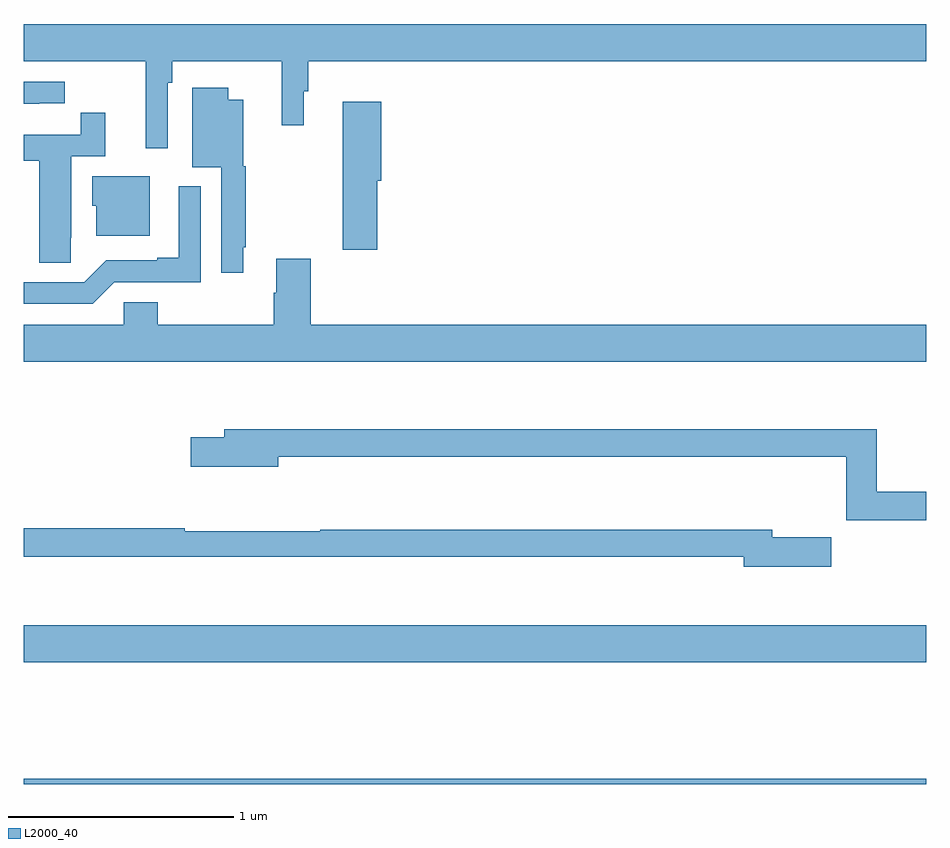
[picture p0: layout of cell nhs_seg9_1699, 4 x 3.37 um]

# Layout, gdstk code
import gdstk
lib = gdstk.Library(unit=1e-6, precision=1e-09)
def R(c, l, rs):  # rectangles x0, y0, x1, y1
    for r in rs: c.add(gdstk.rectangle(r[:2], r[2:], *l))
def P(c, l, *ps):  # polygons
    for p in ps: c.add(gdstk.Polygon(p, *l))
L2000_40 = (2000, 40)

nhs_seg9_1699 = lib.new_cell('nhs_seg9_1699')
R(nhs_seg9_1699, L2000_40, [(205,1242.5,209,1242.524), (205,1243.04,209,1243.204)])
P(nhs_seg9_1699, L2000_40, [(205.638,1245.608),(205.658,1245.608),(205.658,1245.704),(206.143,1245.704),(206.143,1245.42),(206.242,1245.42),(206.242,1245.57),(206.261,1245.57),(206.261,1245.704),(209,1245.704),(209,1245.868),(205,1245.868),(205,1245.704),(205.541,1245.704),(205.541,1245.318),(205.638,1245.318)],
  [(205.07,1245.516),(205.183,1245.516),(205.183,1245.612),(205,1245.612),(205,1245.515),(205.07,1245.515)],
  [(205.972,1244.878),(205.984,1244.878),(205.984,1245.237),(205.972,1245.237),(205.972,1245.532),(205.906,1245.532),(205.906,1245.586),(205.748,1245.586),(205.748,1245.233),(205.875,1245.233),(205.875,1244.766),(205.972,1244.766)],
  [(206.567,1245.174),(206.585,1245.174),(206.585,1245.523),(206.414,1245.523),(206.414,1245.174),(206.413,1245.174),(206.413,1244.868),(206.567,1244.868)],
  [(205.209,1244.92),(205.21,1244.92),(205.21,1245.282),(205.361,1245.282),(205.361,1245.475),(205.252,1245.475),(205.252,1245.378),(205,1245.378),(205,1245.262),(205.07,1245.262),(205.07,1244.809),(205.209,1244.809)],
  [(205.558,1245.193),(205.304,1245.193),(205.304,1245.063),(205.322,1245.063),(205.322,1244.93),(205.558,1244.93)],
  [(205.401,1244.724),(205.785,1244.724),(205.785,1245.148),(205.688,1245.148),(205.688,1244.833),(205.592,1244.833),(205.592,1244.82),(205.365,1244.82),(205.269,1244.724),(205,1244.724),(205,1244.628),(205.305,1244.628)],
  [(209,1244.536),(206.273,1244.536),(206.273,1244.827),(206.12,1244.827),(206.12,1244.678),(206.108,1244.678),(206.108,1244.536),(205.595,1244.536),(205.595,1244.634),(205.443,1244.634),(205.443,1244.536),(205,1244.536),(205,1244.372),(209,1244.372)],
  [(209,1243.796),(208.781,1243.796),(208.781,1244.071),(205.889,1244.071),(205.889,1244.037),(205.74,1244.037),(205.74,1243.907),(206.128,1243.907),(206.128,1243.95),(208.645,1243.95),(208.645,1243.668),(209,1243.668)],
  [(208.579,1243.593),(208.318,1243.593),(208.318,1243.627),(206.314,1243.627),(206.314,1243.619),(205.714,1243.619),(205.714,1243.634),(205,1243.634),(205,1243.506),(208.19,1243.506),(208.19,1243.463),(208.579,1243.463)])

lib.write_gds('nhs_seg9_1699.gds')
